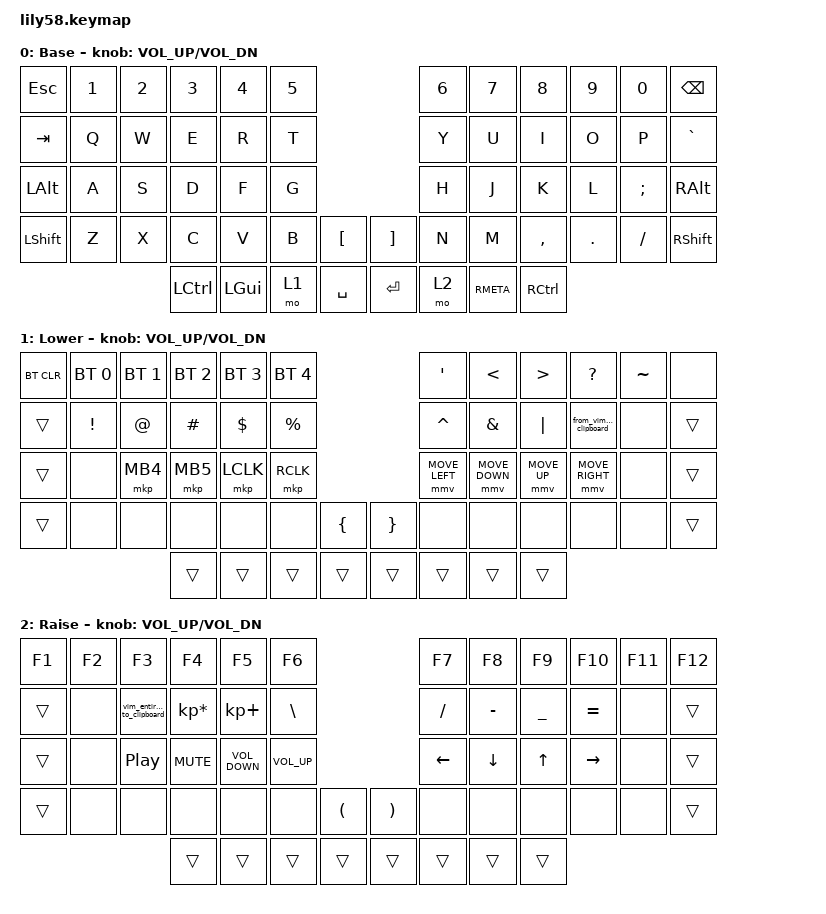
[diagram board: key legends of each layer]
/*
 * Copyright (c) 2020 The ZMK Contributors
 *
 * SPDX-License-Identifier: MIT
 */

#include <behaviors.dtsi>
#include <dt-bindings/zmk/bt.h>
#include <dt-bindings/zmk/keys.h>
#include <dt-bindings/zmk/pointing.h>

/ {
    macros {
        from_vim_to_clipboard: from_vim_to_clipboard {
            compatible = "zmk,behavior-macro";
            #binding-cells = <0>;
            bindings = <&kp DOUBLE_QUOTES &kp KP_PLUS &kp Y>;
            label = "FROM_VIM_TO_CLIPBOARD";
        };

        vim_entire_file_to_clipboard: vim_entire_file_to_clipboard {
            compatible = "zmk,behavior-macro";
            #binding-cells = <0>;
            bindings = <&kp COLON &kp PERCENT &kp Y &kp KP_PLUS &kp ENTER>;
            label = "VIM_ENTIRE_FILE_TO_CLIPBOARD";
        };
    };

    keymap {
        compatible = "zmk,keymap";

        default_layer {
            // ------------------------------------------------------------------------------------------------------------
            // |  ESC  |  1  |  2  |  3   |  4   |  5   |                   |  6   |  7    |  8    |  9   |   0   |   `   |
            // |  TAB  |  Q  |  W  |  E   |  R   |  T   |                   |  Y   |  U    |  I    |  O   |   P   |   -   |
            // |  CTRL |  A  |  S  |  D   |  F   |  G   |                   |  H   |  J    |  K    |  L   |   ;   |   '   |
            // | SHIFT |  Z  |  X  |  C   |  V   |  B   |   "["  |  |  "]"  |  N   |  M    |  ,    |  .   |   /   | SHIFT |
            //                     | ALT  | GUI  | LOWER|  SPACE |  | ENTER | RAISE| BSPC  | GUI   |

            display-name = "Base";
            bindings = <
&kp ESC       &kp N1  &kp N2  &kp N3            &kp N4    &kp N5                         &kp N6  &kp N7     &kp N8             &kp N9   &kp N0    &kp BACKSPACE
&kp TAB       &kp Q   &kp W   &kp E             &kp R     &kp T                          &kp Y   &kp U      &kp I              &kp O    &kp P     &kp GRAVE
&kp LEFT_ALT  &kp A   &kp S   &kp D             &kp F     &kp G                          &kp H   &kp J      &kp K              &kp L    &kp SEMI  &kp RIGHT_ALT
&kp LSHFT     &kp Z   &kp X   &kp C             &kp V     &kp B   &kp LBKT     &kp RBKT  &kp N   &kp M      &kp COMMA          &kp DOT  &kp FSLH  &kp RSHFT
                              &kp LEFT_CONTROL  &kp LGUI  &mo 1   &kp SPACE    &kp RET   &mo 2   &kp RMETA  &kp RIGHT_CONTROL
            >;

            sensor-bindings = <&inc_dec_kp C_VOL_UP C_VOL_DN>;
        };

        lower_layer {
            // ------------------------------------------------------------------------------------------------------------
            // | BTCLR | BT1 | BT2 |  BT3 |  BT4 |  BT5 |                   |      |       |       |      |       |       |
            // |  F1   |  F2 |  F3 |  F4  |  F5  |  F6  |                   |  F7  |  F8   |  F9   |  F10 |  F11  |  F12  |
            // |   `   |  !  |  @  |  #   |  $   |  %   |                   |  ^   |  &    |  *    |  (   |   )   |   ~   |
            // |       |     |     |      |      |      |        |  |       |      |  _    |  +    |  {   |   }   |  "|"  |
            //                     |      |      |      |        |  |       |      |       |       |

            display-name = "Lower";
            bindings = <
&bt BT_CLR  &bt BT_SEL 0     &bt BT_SEL 1  &bt BT_SEL 2  &bt BT_SEL 3  &bt BT_SEL 4                                     &kp APOS        &kp LESS_THAN   &kp GREATER_THAN  &kp QUESTION            &kp TILDE  &none
&trans      &kp EXCLAMATION  &kp AT        &kp HASH      &kp DOLLAR    &kp PERCENT                                      &kp CARET       &kp AMPERSAND   &kp PIPE          &from_vim_to_clipboard  &none      &trans
&trans      &none            &mkp MB4      &mkp MB5      &mkp LCLK     &mkp RCLK                                        &mmv MOVE_LEFT  &mmv MOVE_DOWN  &mmv MOVE_UP      &mmv MOVE_RIGHT         &none      &trans
&trans      &none            &none         &none         &none         &none         &kp LEFT_BRACE    &kp RIGHT_BRACE  &none           &none           &none             &none                   &none      &trans
                                           &trans        &trans        &trans        &trans            &trans           &trans          &trans          &trans
            >;

            sensor-bindings = <&inc_dec_kp C_VOL_UP C_VOL_DN>;
        };

        raise_layer {
            // ------------------------------------------------------------------------------------------------------------
            // |       |     |     |      |      |      |                   |      |       |       |      |       |       |
            // |   `   |  1  |  2  |  3   |  4   |  5   |                   |  6   |   7   |   8   |  9   |   0   |       |
            // |   F1  |  F2 |  F3 |  F4  |  F5  |  F6  |                   |      |   <-  |   v   |  ^   |  ->   |       |
            // |   F7  |  F8 |  F9 |  F10 |  F11 |  F12 |        |  |       |  +   |   -   |   =   |  [   |   ]   |   \   |
            //                     |      |      |      |        |  |       |      |       |       |

            display-name = "Raise";
            bindings = <
&kp F1  &kp F2  &kp F3                         &kp F4           &kp F5             &kp F6                                                          &kp F7          &kp F8     &kp F9          &kp F10    &kp F11  &kp F12
&trans  &none   &vim_entire_file_to_clipboard  &kp KP_MULTIPLY  &kp KP_PLUS        &kp BACKSLASH                                                   &kp SLASH       &kp MINUS  &kp UNDERSCORE  &kp EQUAL  &none    &trans
&trans  &none   &kp C_PLAY_PAUSE               &kp C_MUTE       &kp C_VOLUME_DOWN  &kp C_VOLUME_UP                                                 &kp LEFT_ARROW  &kp DOWN   &kp UP_ARROW    &kp RIGHT  &none    &trans
&trans  &none   &none                          &none            &none              &none            &kp LEFT_PARENTHESIS    &kp RIGHT_PARENTHESIS  &none           &none      &none           &none      &none    &trans
                                               &trans           &trans             &trans           &trans                  &trans                 &trans          &trans     &trans
            >;

            sensor-bindings = <&inc_dec_kp C_VOL_UP C_VOL_DN>;
        };

        extra_1 { status = "reserved"; };

        extra_2 { status = "reserved"; };

        extra_3 { status = "reserved"; };
    };
};
